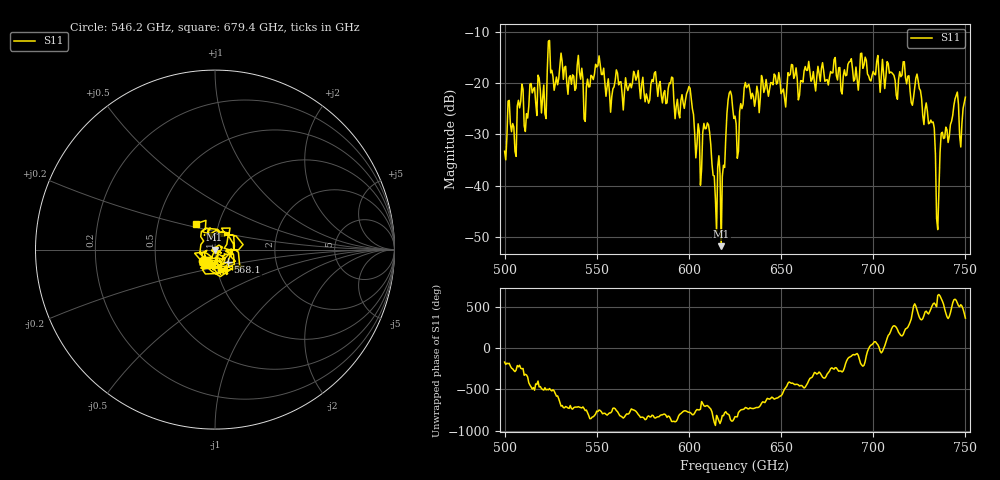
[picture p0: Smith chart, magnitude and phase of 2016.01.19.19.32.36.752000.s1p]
!Created with skrf (http://scikit-rf.org).
# GHz S RI R 50.0
!freq ReS11 ImS11
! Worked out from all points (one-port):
!   401 points, 500 GHz to 750 GHz, reference 50 ohm
!   lowest |S11| = -51.9 dB at 617.5 GHz (marker M1), VSWR 1.01, Z = 49.8 - j0.0972 ohm
!   |S11| at or under -10 dB: start of sweep to end of sweep
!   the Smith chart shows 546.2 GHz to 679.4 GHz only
!   S11 on the Smith chart (normalised r, x): 546.2 GHz: 0.87, -0.11; 568.1 GHz: 1.14, -0.16; 679.4 GHz: 0.78, +0.23
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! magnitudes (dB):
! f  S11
! 500 GHz  -33.3
! 508.8 GHz  -23.6
! 511.9 GHz  -26.0
! 515 GHz  -21.9
! 521.2 GHz  -20.4
! 524.4 GHz  -11.6
! 531.2 GHz  -15.8
! 546.2 GHz  -20.7
! 562.5 GHz  -19.8
! 568.1 GHz  -20.0
! 590 GHz  -20.1
! 593.8 GHz  -23.1
! 600 GHz  -20.6
! 605 GHz  -27.9
! 609.4 GHz  -28.8
! 613.8 GHz  -38.1
! 617.5 GHz  -51.9
! 621.9 GHz  -21.9
! 625 GHz  -26.4
! 631.2 GHz  -20.9
! 656.2 GHz  -16.4
! 679.4 GHz  -15.0
! 687.5 GHz  -15.7
! 718.8 GHz  -18.6
! 731.9 GHz  -27.7
! 735 GHz  -48.6
! 738.1 GHz  -30.8
! 750 GHz  -22.7
